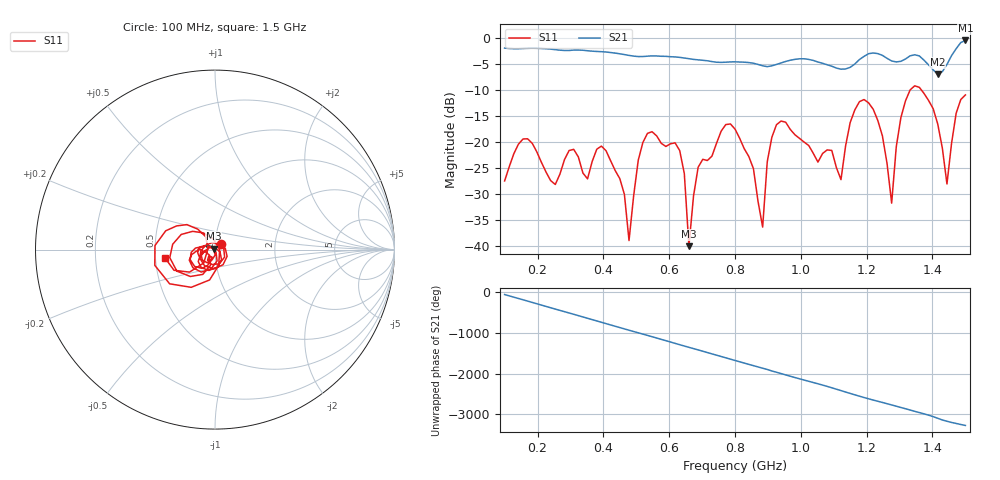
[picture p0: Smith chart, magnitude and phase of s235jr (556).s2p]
! NanoVNA-App
! Date: 2025-09-25 15:08:29
! Start: 100MHz Stop: 1,5GHz Points: 101
! S-Parameter data: F S11 S21 S12 S22
# Hz S RI R 50
!  Frequency  S11_Real  S11_Imag  S21_Real  S21_Imag  S12_Real  S12_Imag  S22_Real  S22_Imag
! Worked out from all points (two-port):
!   101 points, 100 MHz to 1.5 GHz, reference 50 ohm
!   highest |S21| = -0.49 dB at 1.5 GHz (marker M1); lowest = -7.0 dB at 1.416 GHz (marker M2)
!   |S21| within 3 dB of the highest: start of sweep to 491 MHz; 1.194 GHz to 1.251 GHz (57.73 MHz wide, 4.72 % of centre) (the widest 2 of 5)
!   lowest |S11| = -40.0 dB at 660 MHz (marker M3), VSWR 1.02, Z = 49.2 + j0.572 ohm
!   |S11| at or under -10 dB: start of sweep to 1.332 GHz; 1.366 GHz to end of sweep
!   S12 and S22 are empty: the file has one direction only
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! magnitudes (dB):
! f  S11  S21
! 100 MHz  -27.5  -2.0
! 156 MHz  -19.4  -2.0
! 338 MHz  -26.0  -2.4
! 408 MHz  -21.7  -2.7
! 478 MHz  -38.9  -3.4
! 520 MHz  -20.1  -3.6
! 576 MHz  -20.2  -3.5
! 632 MHz  -21.6  -3.7
! 660 MHz  -40.0  -4.0
! 688 MHz  -24.8  -4.2
! 800 MHz  -17.5  -4.6
! 884 MHz  -36.3  -5.4
! 926 MHz  -16.7  -5.1
! 1.038 GHz  -22.2  -4.3
! 1.122 GHz  -27.2  -6.0
! 1.192 GHz  -11.8  -3.6
! 1.248 GHz  -18.9  -3.4
! 1.276 GHz  -31.7  -4.4
! 1.332 GHz  -10.0  -3.4
! 1.416 GHz  -16.5  -7.0
! 1.444 GHz  -28.1  -5.1
! 1.5 GHz  -11.0  -0.5
